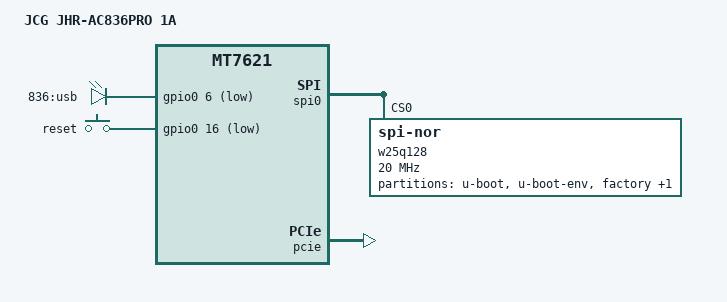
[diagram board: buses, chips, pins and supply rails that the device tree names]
// SPDX-License-Identifier: GPL-2.0-or-later OR MIT
/dts-v1/;

#include "mt7621.dtsi"

#include <dt-bindings/gpio/gpio.h>
#include <dt-bindings/input/input.h>

/ {
	compatible = "jcg,jhr-ac836pro-1a", "mediatek,mt7621-soc";
	model = "JCG JHR-AC836PRO 1A";

	chosen {
		bootargs = "console=ttyS0,115200";
	};

	leds {
		compatible = "gpio-leds";
		
		usb {
			label = "836:usb";
			gpios = <&gpio0 6 GPIO_ACTIVE_LOW>;
			trigger-sources = <&xhci_ehci_port1>;
			linux,default-trigger = "usbport";
		};
	};

	keys {
		compatible = "gpio-keys";

		reset {
			label = "reset";
			gpios = <&gpio0 16 GPIO_ACTIVE_LOW>;
			linux,code = <KEY_RESTART>;
		};
	};
};

&spi0 {
	status = "okay";

	w25q128@0 {
		compatible = "jedec,spi-nor";
		reg = <0>;
		spi-max-frequency = <20000000>;

		partitions {
			compatible = "fixed-partitions";
			#address-cells = <1>;
			#size-cells = <1>;

			partition@0 {
				label = "u-boot";
				reg = <0x0 0x30000>;
				read-only;
			};

			partition@30000 {
				label = "u-boot-env";
				reg = <0x30000 0x10000>;
				read-only;
			};

			factory: partition@40000 {
				label = "factory";
				reg = <0x40000 0x10000>;
				read-only;
			};

			partition@50000 {
				compatible = "denx,uimage";
				label = "firmware";
				reg = <0x50000 0xfb0000>;
			};
		};
	};
};

&pcie {
	status = "okay";
};

&pcie0 {
	mt76@0,0 {
		reg = <0x0000 0 0 0 0>;
		mediatek,mtd-eeprom = <&factory 0x0000>;

		led {
			led-active-low;
		};
	};
};

&pcie1 {
	mt76@0,0 {
		reg = <0x0000 0 0 0 0>;
		mediatek,mtd-eeprom = <&factory 0x8000>;
		ieee80211-freq-limit = <5000000 6000000>;

		led {
			led-sources = <2>;
			led-active-low;
		};
	};
};

&ethernet {
	mtd-mac-address = <&factory 0xe000>;
};

&state_default {
	gpio {
		ralink,group = "uart3", "jtag";
		ralink,function = "gpio";
	};
};
